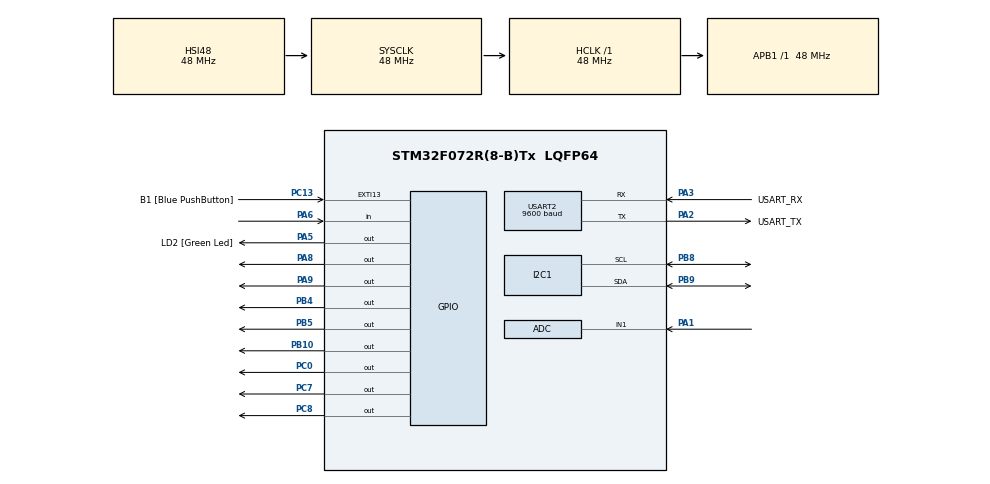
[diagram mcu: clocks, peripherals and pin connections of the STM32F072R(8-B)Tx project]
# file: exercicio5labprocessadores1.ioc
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Mcu.Family=STM32F0
Mcu.Name=STM32F072R(8-B)Tx
Mcu.Package=LQFP64
PA1.Mode=IN1
PA1.Signal=ADC_IN1
PA13.GPIO_Label=TMS
PA13.Mode=Serial_Wire
PA13.Signal=SYS_SWDIO
PA14.GPIO_Label=TCK
PA14.Mode=Serial_Wire
PA14.Signal=SYS_SWCLK
PA2.GPIO_Label=USART_TX
PA2.GPIO_Mode=GPIO_MODE_AF_PP
PA2.GPIO_PuPd=GPIO_NOPULL
PA2.GPIO_Speed=GPIO_SPEED_FREQ_LOW
PA2.Mode=Asynchronous
PA2.Signal=USART2_TX
PA3.GPIO_Label=USART_RX
PA3.GPIO_Mode=GPIO_MODE_AF_PP
PA3.GPIO_PuPd=GPIO_NOPULL
PA3.GPIO_Speed=GPIO_SPEED_FREQ_LOW
PA3.Mode=Asynchronous
PA3.Signal=USART2_RX
PA5.GPIO_Label=LD2 [Green Led]
PA5.GPIO_Mode=GPIO_MODE_OUTPUT_PP
PA5.GPIO_PuPd=GPIO_NOPULL
PA5.GPIO_Speed=GPIO_SPEED_FREQ_LOW
PA5.Signal=GPIO_Output
PA6.Signal=GPIO_Input
PA8.Signal=GPIO_Output
PA9.Signal=GPIO_Output
PB10.Signal=GPIO_Output
PB4.Signal=GPIO_Output
PB5.Signal=GPIO_Output
PB8.Mode=I2C
PB8.Signal=I2C1_SCL
PB9.Mode=I2C
PB9.Signal=I2C1_SDA
PC0.Signal=GPIO_Output
PC13.GPIO_Label=B1 [Blue PushButton]
PC13.GPIO_ModeDefaultEXTI=GPIO_MODE_IT_FALLING
PC13.Signal=GPXTI13
PC14-OSC32_IN.Mode=LSE-External-Oscillator
PC14-OSC32_IN.Signal=RCC_OSC32_IN
PC15-OSC32_OUT.Mode=LSE-External-Oscillator
PC15-OSC32_OUT.Signal=RCC_OSC32_OUT
PC7.Signal=GPIO_Output
PC8.Signal=GPIO_Output
PF0-OSC_IN.Signal=RCC_OSC_IN
PF1-OSC_OUT.Signal=RCC_OSC_OUT
ProjectManager.HeapSize=0x200
ProjectManager.StackSize=0x400
ProjectManager.TargetToolchain=STM32CubeIDE
RCC.AHBFreq_Value=48000000
RCC.APB1Freq_Value=48000000
RCC.APB1TimFreq_Value=48000000
RCC.FLatency-AdvancedSettings=FLASH_LATENCY_1
RCC.HCLKFreq_Value=48000000
RCC.PLLDivider=RCC_PREDIV_DIV2
RCC.PLLMUL=RCC_PLL_MUL12
RCC.PREFETCH_ENABLE-AdvancedSettings=1
RCC.SYSCLKFreq_VALUE=48000000
RCC.SYSCLKSource=RCC_SYSCLKSOURCE_HSI48
USART2.BaudRate=9600
USART2.VirtualMode=VM_ASYNC
USART2.VirtualMode-Asynchronous=VM_ASYNC
VP_RTC_VS_RTC_Activate.Mode=RTC_Enabled
VP_RTC_VS_RTC_Calendar.Mode=RTC_Calendar
board=NUCLEO-F072RB

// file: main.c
/* USER CODE BEGIN Header */
/**
  ******************************************************************************
  * @file           : main.c
  * @brief          : Main program body
  ******************************************************************************
  * @attention
  *
  * Copyright (c) 2022 STMicroelectronics.
  * All rights reserved.
  *
  * This software is licensed under terms that can be found in the LICENSE file
  * in the root directory of this software component.
  * If no LICENSE file comes with this software, it is provided AS-IS.
  *
  ******************************************************************************
  */
/* USER CODE END Header */
#include "main.h"

/* USER CODE BEGIN Includes */
#include "stdio.h"
#include "stdlib.h"
#include "string.h"
/* USER CODE END Includes */

/* USER CODE BEGIN PD */
#define cursor_off     0x0c
#define cursor_on      0x0e
#define cursor_blink   0x0f

#define comCartao (GPIOA-> IDR & (1<<6))

#define rs_0			GPIOA -> BRR = 1<<9
#define rs_1			GPIOA -> BSRR = 1<<9
#define en_0			GPIOC -> BRR = 1<<7
#define en_1			GPIOC -> BSRR = 1<<7

#define servo_0			GPIOC -> BRR = 1<<0
#define servo_1			GPIOC -> BSRR = 1<<0

#define  SCL      8    // Declare SCL GPIO-OUTPUT no Cube!!!
#define  SDA      9    // Declare SDA GPIO-OUTPUT no Cube!!!

#define  SCL_1    GPIOB->BSRR = 1 << SCL
#define  SCL_0    GPIOB->BRR = 1 << SCL
#define  SDA_1    GPIOB->BSRR = 1 << SDA
#define  SDA_0    GPIOB->BRR = 1 << SDA

#define no_lcd		1
#define na_serial	2

char aonde = no_lcd;

#define pb5_0 GPIOB->BRR = 1<<5 			/*PB5(D4) on/off */
#define pb5_1 GPIOB->BSRR = 1<<5
#define pb4_0 GPIOB->BRR = 1<<4 			/*PB4(D5) on/off */
#define pb4_1 GPIOB->BSRR = 1<<4
#define pb10_0 GPIOB->BRR = 1<<10 			/*PB10(D6) on/off */
#define pb10_1 GPIOB->BSRR = 1<<10
#define pa8_0 GPIOA->BRR = 1<<8 			/*PA8(D7)*/
#define pa8_1 GPIOA->BSRR = 1<<8

RTC_TimeTypeDef relogio;
RTC_DateTypeDef calendario;

char ch, d, u, h, m, s, dd, mm, yy;
char hora, min, seg, dia, mes, ano;

/* USER CODE END PD */

ADC_HandleTypeDef hadc;
I2C_HandleTypeDef hi2c1;
RTC_HandleTypeDef hrtc;
UART_HandleTypeDef huart2;

/* USER CODE BEGIN PV */
const unsigned char tab_char[64] =
{
 0x0e, 0x1b, 0x04, 0x04, 0x07, 0x10, 0x0e, 0x00,
 0x0e, 0x04, 0x0e, 0x15, 0x17, 0x11, 0x0e, 0x00,
};
/* USER CODE END PV */

void SystemClock_Config(void);
static void MX_GPIO_Init(void);
static void MX_USART2_UART_Init(void);
static void MX_ADC_Init(void);
static void MX_I2C1_Init(void);
static void MX_RTC_Init(void);
/* USER CODE BEGIN PFP */

void lcd_wrcom4(uint8_t com4);
void lcd_wrcom(uint8_t com);
void lcd_wrchar(unsigned char ch);
void lcd_wr2dig(uint8_t val);
void lcd_init(uint8_t cursor);
void lcd_goto(uint8_t x, uint8_t y);
void lcd_wrstr(char *str);
void udelay(void);
void delayus(uint16_t tempo);
int __io_putchar(int ch);
int _io_putchar(int ch);
void lcd_clear();
void lcd_backlight(uint8_t backlight);
void lcd_progchar(void);

void i2c_init(void);
void i2c_start(void);
void i2c_stop(void);
unsigned char i2c_write(unsigned char dado);
unsigned char i2c_read(unsigned char conf);

void servo_motor(int servo);
void lcd_update();

/* USER CODE END PFP */

/* USER CODE BEGIN 0 */
int __io_putchar(int ch) {
	    if (aonde == no_lcd){if (ch != '\n') lcd_wrchar(ch);}
		if (aonde == na_serial) HAL_UART_Transmit(&huart2, (uint8_t *)&ch, 1, 10);
		return ch;
}
/* USER CODE END 0 */

int main(void)
{

  /* MCU Configuration--------------------------------------------------------*/

  /* Reset of all peripherals, Initializes the Flash interface and the Systick. */
  HAL_Init();

  /* Configure the system clock */
  SystemClock_Config();

  /* Initialize all configured peripherals */
  MX_GPIO_Init();
  MX_USART2_UART_Init();
  MX_ADC_Init();
  MX_I2C1_Init();
  MX_RTC_Init();
  /* USER CODE BEGIN 2 */

  //int leitura;
  //HAL_ADC_Init(&hadc);  // conversor analogico digital

   HAL_UART_Init(&huart2); // Uart(Universal Asynchronous Receiver/Transmitter) porta serial
   HAL_I2C_Init(&hi2c1);
   HAL_RTC_Init(&hrtc);
   HAL_RTC_WaitForSynchro(&hrtc);

   lcd_init(cursor_off);
   lcd_clear();

   char password[4]={0,0,0,0};
   char testePass[4]={0,0,0,0};
   int certa;
   int senhacadastrada=0;
   int senhacorreta,config,estado;
   int erro;

   	   	 do{

	     if (comCartao == 0)
	       {
	        aonde = no_lcd;
	    	lcd_goto(0,0);
	    	printf("Cadastrar senha :");
	    	aonde = na_serial;
	    	printf("\rCadastre uma senha para o cartao\n");
	    	config=1;
	     for(int k = 0; k < 4 ; k++)
		 {
		 do
		 {
		   erro = HAL_UART_Receive(&huart2,(uint8_t *)&password[k], 1, 2);
		 } while (erro != HAL_UART_ERROR_NONE);
		 	 HAL_UART_Transmit(&huart2, (uint8_t *)&password[k], 1, 2);
		 	 password[k] = password[k] - '0';  		//conv ascii decimal
		 }
	     if (comCartao == 0)
	    	       {    for(int k = 0 ; k < 4 ; k++)
	     {
	    	 int pos_mem=100+k;
	    	 HAL_I2C_Mem_Write(&hi2c1,0xA0,pos_mem,1,(uint8_t*)&password[k],1,10);
	    	 HAL_Delay(10);

	     }

	      for (int k=0; k<4; k++)
	      {
	    	int pos_mem=100+k;
	      	HAL_I2C_Mem_Read(&hi2c1, 0xA0, pos_mem, 1, (uint8_t*)&testePass[k], 1, 10);
	      	}
	         aonde = na_serial;
	         printf("\n\rSenha cadastrada %d%d%d%d\n",testePass[0],testePass[1],testePass[2],testePass[3]);
	     	 aonde = no_lcd;
	     	 lcd_clear();
	     	 lcd_goto(0,0);
	     	 printf("\nSenha cadastrada\n");
	     	 senhacadastrada=1;
	     	 config=3;
	     	 HAL_Delay(500);
	    } else {
	    	       aonde = no_lcd;
	    	       lcd_clear();
	    		   printf("Insira o cartao de acesso\n");
	    		   HAL_Delay(100);
	    	   	   aonde = na_serial;
	    	   	   printf("\r\n");
	    	   	   printf("\rInsira o cartao de acesso\n");
	    	   	   HAL_Delay(500);
	    	   }
	       }else {
    	       aonde = no_lcd;
    	       lcd_clear();
    		   printf("Insira o cartao de acesso\n");
    		   HAL_Delay(100);
    	   	   aonde = na_serial;
    	   	   printf("\r\n");
    	   	   printf("\rInsira o cartao de acesso\n");
    	   	   printf("\r\n");
    	   	   HAL_Delay(500);
    	   }

	     }while(senhacadastrada==0);

   		aonde = na_serial;
   		printf("\rAjuste da data\n");
   		printf("\rDia/mes/ano\n");
   		//AJUSTE DA DATA
   		do{
   			erro = HAL_UART_Receive(&huart2, (uint8_t*)&ch, 1, 2);
   		} while(erro != HAL_UART_ERROR_NONE);
   		HAL_UART_Transmit(&huart2, (uint8_t*)&ch, 1, 2);

   		d = ch-'0'; //converte ascii p decimal

   		do{
   			erro = HAL_UART_Receive(&huart2, (uint8_t*)&ch, 1, 2);
   		} while(erro != HAL_UART_ERROR_NONE);
   		HAL_UART_Transmit(&huart2, (uint8_t*)&ch, 1, 2);

   		u = ch - '0';
   		dd = 10 * d + u;
   		if (dd>31) dd=31;
   		ch = '/';
   		HAL_UART_Transmit(&huart2, (uint8_t*)&ch, 1, 2);
   		aonde = no_lcd;
   		lcd_clear();
   		lcd_goto(8,0);
   		printf("\r%02d/\n", dd); // imprime a data

   			//AJUSTE DO MES
   		do{
   			erro = HAL_UART_Receive(&huart2, (uint8_t*)&ch, 1, 2);
   		} while(erro != HAL_UART_ERROR_NONE);
   		HAL_UART_Transmit(&huart2, (uint8_t*)&ch, 1, 2);

   		d = ch-'0'; //converte ascii p decimal

   		do{
   			erro = HAL_UART_Receive(&huart2, (uint8_t*)&ch, 1, 2);
   		} while(erro != HAL_UART_ERROR_NONE);
   		HAL_UART_Transmit(&huart2, (uint8_t*)&ch, 1, 2);

   		u = ch - '0';
   		mm = 10 * d + u;
   		if (dd>28 && mm==2) mm+=1;
   		if (dd>30 && (mm==4 || mm==6 || mm==9 || mm==11)) mm+=1;
   		if (mm>12) mm=12;
   		ch = '/';
   		HAL_UART_Transmit(&huart2, (uint8_t*)&ch, 1, 2);
   		lcd_goto(11,0);
   		printf("\r%02d/\n", mm); // imprime mes

   			//AJUSTE DO SEGUNDO
   		do{
   			erro = HAL_UART_Receive(&huart2, (uint8_t*)&ch, 1, 2);
   		} while(erro != HAL_UART_ERROR_NONE);
   		HAL_UART_Transmit(&huart2, (uint8_t*)&ch, 1, 2);

   		d = ch-'0'; //converte ascii p decimal

   		do{
   			erro = HAL_UART_Receive(&huart2, (uint8_t*)&ch, 1, 2);
   		} while(erro != HAL_UART_ERROR_NONE);
   		HAL_UART_Transmit(&huart2, (uint8_t*)&ch, 1, 2);

   		u = ch - '0';
   		yy = 10 * d + u;

   		lcd_goto(14,0);
   		printf("\r%02d\n", yy); // imprime ano

   		aonde = na_serial;
   		printf("\n");

   		aonde = na_serial;
   		printf("\rDigite a hora\n");

   		//AJUSTE DA HORA
   		do{

   			erro = HAL_UART_Receive(&huart2, (uint8_t*)&ch, 1, 2);
   		} while(erro != HAL_UART_ERROR_NONE);
   		HAL_UART_Transmit(&huart2, (uint8_t*)&ch, 1, 2);

   		d = ch-'0'; //converte ascii p decimal

   		do{
   			erro = HAL_UART_Receive(&huart2, (uint8_t*)&ch, 1, 2);
   		} while(erro != HAL_UART_ERROR_NONE);
   		HAL_UART_Transmit(&huart2, (uint8_t*)&ch, 1, 2);

   		u = ch - '0';
   		h = 10 * d + u;
   		if (h>23) h=23;
   		ch = ':';
   		HAL_UART_Transmit(&huart2, (uint8_t*)&ch, 1, 2);
   		aonde = no_lcd;
   		lcd_goto(8,1);
   		printf("\r%02d:\n", h); // imprime a hora

   			//AJUSTE DO MINUTO
   		do{
   			erro = HAL_UART_Receive(&huart2, (uint8_t*)&ch, 1, 2);
   		} while(erro != HAL_UART_ERROR_NONE);
   		HAL_UART_Transmit(&huart2, (uint8_t*)&ch, 1, 2);

   		d = ch-'0'; //converte ascii p decimal

   		do{
   			erro = HAL_UART_Receive(&huart2, (uint8_t*)&ch, 1, 2);
   		} while(erro != HAL_UART_ERROR_NONE);
   		HAL_UART_Transmit(&huart2, (uint8_t*)&ch, 1, 2);

   		u = ch - '0';
   		m = 10 * d + u;
   		if(m>59) m=59;
   		ch = ':';
   		HAL_UART_Transmit(&huart2, (uint8_t*)&ch, 1, 2);
   		lcd_goto(11,1);
   		printf("\r%02d:\n", m); // imprime minuto

   			//AJUSTE DO SEGUNDO
   		do{
   			erro = HAL_UART_Receive(&huart2, (uint8_t*)&ch, 1, 2);
   		} while(erro != HAL_UART_ERROR_NONE);
   		HAL_UART_Transmit(&huart2, (uint8_t*)&ch, 1, 2);

   		d = ch-'0'; //converte ascii p decimal

   		do{
   			erro = HAL_UART_Receive(&huart2, (uint8_t*)&ch, 1, 2);
   		} while(erro != HAL_UART_ERROR_NONE);
   		HAL_UART_Transmit(&huart2, (uint8_t*)&ch, 1, 2);

   		u = ch - '0';
   		s = 10 * d + u;
   		if(s>59) s=59;

   		lcd_goto(14,1);
   		printf("\r%02d\n", s); // imprime segundo

   		relogio.Hours = h;
   		relogio.Minutes = m;
   		relogio.Seconds = s;

   		calendario.Date = dd;
   		calendario.Month = mm;
   		calendario.Year = yy;

   		HAL_RTC_SetTime(&hrtc, &relogio, RTC_FORMAT_BIN);
   		HAL_RTC_SetDate(&hrtc, &calendario, RTC_FORMAT_BIN);

   		estado=0;
   		aonde = na_serial;
   		printf("\n");

  /* USER CODE END 2 */

  /* Infinite loop */
  while (1)
  {

    /* USER CODE BEGIN 3 */
	  lcd_update();
	  do
	  {
		  lcd_update();
      if (comCartao == 0)//cartao continua inserido
    {

   	aonde = na_serial;
   	printf("\r\n");
    printf("\rInsira a senha para abrir a porta : \n");
    config=1;
    lcd_update();
    	for(int k = 0; k < 4 ; k++)
    	{ lcd_update();
    		do
    		{
    		 	erro = HAL_UART_Receive(&huart2, (uint8_t *)&testePass[k], 1, 100);
    		 	lcd_update();
    		} while (erro != HAL_UART_ERROR_NONE);
    	 	 HAL_UART_Transmit(&huart2, (uint8_t *)&testePass[k], 1, 100);
    	 	 testePass[k] = testePass[k] - '0';  		//conv ascii decimal
    	}
    	 if (comCartao == 0)//cartao continua inserido
    	    {
    		 lcd_update();

        	/* for(int k = 0 ; k <4 ; k++)
      	 {
      		int pos_mem=100+k;
      		HAL_I2C_Mem_Read(&hi2c1, 0xA0, pos_mem, 1, (uint8_t*)&testePass[k], 1, 10);
      	  }*/
    	certa=0;
      	for (int k=0; k<4; k++) //compara a senha
      		{lcd_update();
      			if (password[k]==testePass[k]) certa=certa+1;
      		}

      	            if(certa!=4)
      	            {
      	 	 	 	aonde = na_serial;
    				printf("\rSenha incorreta\n");
    				aonde = no_lcd;
    			    lcd_goto (0,0);
    				printf("Senha\n");
    				lcd_goto (0,1);
    				printf("Inc.\n");
    				HAL_Delay(10);
    				lcd_update();
      	            }else{

      	            	aonde = na_serial;
      	            	printf("\rSenha correta\n");
      	            	aonde = no_lcd;
      	                lcd_goto (0,0);
      	                printf("Senha\n");
      	                lcd_goto (0,1);
      	                printf("Cor.\n");
      	            	HAL_Delay(1000);
      	            	servo_motor(1);
      	            	HAL_Delay(5000);
      	            	servo_motor(2);
      	            	lcd_update();
      	            }
    }
      	  	  	else
      	  	  	{
      	  	  	lcd_update();
      	  	  	if(config==1)
      	  	  	{
      	  	  		aonde = na_serial;
      	  	  		printf("\rInsira o cartao de acesso\n");
      	  	  		printf("\r\n");
      	  	  		aonde = no_lcd;
      	  	  		printf("Insira o cartao de acesso\n");
      	  	  		config=2;
    	     	 }
      	  	  	}
    	 lcd_update(); }else { estado=1;}

      lcd_update();	  }while(config<3);
}if(estado=1){
			aonde = na_serial;
	  		printf("\rInsira o cartao de acesso\n");
	  		printf("\r\n");
	  		aonde = no_lcd;
	  		printf("Insira o cartao de acesso\n");
	  		config=2;
	  		if(comCartao==1)estado=0;
}

	lcd_update();
}
  /* USER CODE END 3 */

void SystemClock_Config(void)
{
  RCC_OscInitTypeDef RCC_OscInitStruct = {0};
  RCC_ClkInitTypeDef RCC_ClkInitStruct = {0};
  RCC_PeriphCLKInitTypeDef PeriphClkInit = {0};

  /** Initializes the RCC Oscillators according to the specified parameters
  * in the RCC_OscInitTypeDef structure.
  */
  RCC_OscInitStruct.OscillatorType = RCC_OSCILLATORTYPE_HSI|RCC_OSCILLATORTYPE_HSI14
                              |RCC_OSCILLATORTYPE_HSI48|RCC_OSCILLATORTYPE_LSI;
  RCC_OscInitStruct.HSIState = RCC_HSI_ON;
  RCC_OscInitStruct.HSI48State = RCC_HSI48_ON;
  RCC_OscInitStruct.HSI14State = RCC_HSI14_ON;
  RCC_OscInitStruct.HSICalibrationValue = RCC_HSICALIBRATION_DEFAULT;
  RCC_OscInitStruct.HSI14CalibrationValue = 16;
  RCC_OscInitStruct.LSIState = RCC_LSI_ON;
  RCC_OscInitStruct.PLL.PLLState = RCC_PLL_NONE;
  if (HAL_RCC_OscConfig(&RCC_OscInitStruct) != HAL_OK)
  {
    Error_Handler();
  }
  /** Initializes the CPU, AHB and APB buses clocks
  */
  RCC_ClkInitStruct.ClockType = RCC_CLOCKTYPE_HCLK|RCC_CLOCKTYPE_SYSCLK
                              |RCC_CLOCKTYPE_PCLK1;
  RCC_ClkInitStruct.SYSCLKSource = RCC_SYSCLKSOURCE_HSI48;
  RCC_ClkInitStruct.AHBCLKDivider = RCC_SYSCLK_DIV1;
  RCC_ClkInitStruct.APB1CLKDivider = RCC_HCLK_DIV1;

  if (HAL_RCC_ClockConfig(&RCC_ClkInitStruct, FLASH_LATENCY_1) != HAL_OK)
  {
    Error_Handler();
  }
  PeriphClkInit.PeriphClockSelection = RCC_PERIPHCLK_USART2|RCC_PERIPHCLK_I2C1
                              |RCC_PERIPHCLK_RTC;
  PeriphClkInit.Usart2ClockSelection = RCC_USART2CLKSOURCE_PCLK1;
  PeriphClkInit.I2c1ClockSelection = RCC_I2C1CLKSOURCE_HSI;
  PeriphClkInit.RTCClockSelection = RCC_RTCCLKSOURCE_LSI;
  if (HAL_RCCEx_PeriphCLKConfig(&PeriphClkInit) != HAL_OK)
  {
    Error_Handler();
  }
}

static void MX_ADC_Init(void)
{

  ADC_ChannelConfTypeDef sConfig = {0};

  /** Configure the global features of the ADC (Clock, Resolution, Data Alignment and number of conversion)
  */
  hadc.Instance = ADC1;
  hadc.Init.ClockPrescaler = ADC_CLOCK_ASYNC_DIV1;
  hadc.Init.Resolution = ADC_RESOLUTION_12B;
  hadc.Init.DataAlign = ADC_DATAALIGN_RIGHT;
  hadc.Init.ScanConvMode = ADC_SCAN_DIRECTION_FORWARD;
  hadc.Init.EOCSelection = ADC_EOC_SINGLE_CONV;
  hadc.Init.LowPowerAutoWait = DISABLE;
  hadc.Init.LowPowerAutoPowerOff = DISABLE;
  hadc.Init.ContinuousConvMode = DISABLE;
  hadc.Init.DiscontinuousConvMode = DISABLE;
  hadc.Init.ExternalTrigConv = ADC_SOFTWARE_START;
  hadc.Init.ExternalTrigConvEdge = ADC_EXTERNALTRIGCONVEDGE_NONE;
  hadc.Init.DMAContinuousRequests = DISABLE;
  hadc.Init.Overrun = ADC_OVR_DATA_PRESERVED;
  if (HAL_ADC_Init(&hadc) != HAL_OK)
  {
    Error_Handler();
  }
  /** Configure for the selected ADC regular channel to be converted.
  */
  sConfig.Channel = ADC_CHANNEL_1;
  sConfig.Rank = ADC_RANK_CHANNEL_NUMBER;
  sConfig.SamplingTime = ADC_SAMPLETIME_1CYCLE_5;
  if (HAL_ADC_ConfigChannel(&hadc, &sConfig) != HAL_OK)
  {
    Error_Handler();
  }

}

static void MX_I2C1_Init(void)
{

  hi2c1.Instance = I2C1;
  hi2c1.Init.Timing = 0x2000090E;
  hi2c1.Init.OwnAddress1 = 0;
  hi2c1.Init.AddressingMode = I2C_ADDRESSINGMODE_7BIT;
  hi2c1.Init.DualAddressMode = I2C_DUALADDRESS_DISABLE;
  hi2c1.Init.OwnAddress2 = 0;
  hi2c1.Init.OwnAddress2Masks = I2C_OA2_NOMASK;
  hi2c1.Init.GeneralCallMode = I2C_GENERALCALL_DISABLE;
  hi2c1.Init.NoStretchMode = I2C_NOSTRETCH_DISABLE;
  if (HAL_I2C_Init(&hi2c1) != HAL_OK)
  {
    Error_Handler();
  }
  /** Configure Analogue filter
  */
  if (HAL_I2CEx_ConfigAnalogFilter(&hi2c1, I2C_ANALOGFILTER_ENABLE) != HAL_OK)
  {
    Error_Handler();
  }
  /** Configure Digital filter
  */
  if (HAL_I2CEx_ConfigDigitalFilter(&hi2c1, 0) != HAL_OK)
  {
    Error_Handler();
  }

}

static void MX_RTC_Init(void)
{

  RTC_TimeTypeDef sTime = {0};
  RTC_DateTypeDef sDate = {0};

  /** Initialize RTC Only
  */
  hrtc.Instance = RTC;
  hrtc.Init.HourFormat = RTC_HOURFORMAT_24;
  hrtc.Init.AsynchPrediv = 127;
  hrtc.Init.SynchPrediv = 255;
  hrtc.Init.OutPut = RTC_OUTPUT_DISABLE;
  hrtc.Init.OutPutPolarity = RTC_OUTPUT_POLARITY_HIGH;
  hrtc.Init.OutPutType = RTC_OUTPUT_TYPE_OPENDRAIN;
  if (HAL_RTC_Init(&hrtc) != HAL_OK)
  {
    Error_Handler();
  }

  /** Initialize RTC and set the Time and Date
  */
  sTime.Hours = 0x0;
  sTime.Minutes = 0x0;
  sTime.Seconds = 0x0;
  sTime.DayLightSaving = RTC_DAYLIGHTSAVING_NONE;
  sTime.StoreOperation = RTC_STOREOPERATION_RESET;
  if (HAL_RTC_SetTime(&hrtc, &sTime, RTC_FORMAT_BCD) != HAL_OK)
  {
    Error_Handler();
  }
  sDate.WeekDay = RTC_WEEKDAY_MONDAY;
  sDate.Month = RTC_MONTH_JANUARY;
  sDate.Date = 0x1;
  sDate.Year = 0x0;

  if (HAL_RTC_SetDate(&hrtc, &sDate, RTC_FORMAT_BCD) != HAL_OK)
  {
    Error_Handler();
  }

}

static void MX_USART2_UART_Init(void)
{

  huart2.Instance = USART2;
  huart2.Init.BaudRate = 9600;
  huart2.Init.WordLength = UART_WORDLENGTH_8B;
  huart2.Init.StopBits = UART_STOPBITS_1;
  huart2.Init.Parity = UART_PARITY_NONE;
  huart2.Init.Mode = UART_MODE_TX_RX;
  huart2.Init.HwFlowCtl = UART_HWCONTROL_NONE;
  huart2.Init.OverSampling = UART_OVERSAMPLING_16;
  huart2.Init.OneBitSampling = UART_ONE_BIT_SAMPLE_DISABLE;
  huart2.AdvancedInit.AdvFeatureInit = UART_ADVFEATURE_NO_INIT;
  if (HAL_UART_Init(&huart2) != HAL_OK)
  {
    Error_Handler();
  }

}

static void MX_GPIO_Init(void)
{
  GPIO_InitTypeDef GPIO_InitStruct = {0};

  /* GPIO Ports Clock Enable */
  __HAL_RCC_GPIOC_CLK_ENABLE();
  __HAL_RCC_GPIOF_CLK_ENABLE();
  __HAL_RCC_GPIOA_CLK_ENABLE();
  __HAL_RCC_GPIOB_CLK_ENABLE();

  /*Configure GPIO pin Output Level */
  HAL_GPIO_WritePin(GPIOC, GPIO_PIN_0|GPIO_PIN_7|GPIO_PIN_8, GPIO_PIN_RESET);

  /*Configure GPIO pin Output Level */
  HAL_GPIO_WritePin(GPIOA, LD2_Pin|GPIO_PIN_8|GPIO_PIN_9, GPIO_PIN_RESET);

  /*Configure GPIO pin Output Level */
  HAL_GPIO_WritePin(GPIOB, GPIO_PIN_10|GPIO_PIN_4|GPIO_PIN_5, GPIO_PIN_RESET);

  /*Configure GPIO pin : B1_Pin */
  GPIO_InitStruct.Pin = B1_Pin;
  GPIO_InitStruct.Mode = GPIO_MODE_IT_FALLING;
  GPIO_InitStruct.Pull = GPIO_NOPULL;
  HAL_GPIO_Init(B1_GPIO_Port, &GPIO_InitStruct);

  /*Configure GPIO pins : PC0 PC7 PC8 */
  GPIO_InitStruct.Pin = GPIO_PIN_0|GPIO_PIN_7|GPIO_PIN_8;
  GPIO_InitStruct.Mode = GPIO_MODE_OUTPUT_PP;
  GPIO_InitStruct.Pull = GPIO_NOPULL;
  GPIO_InitStruct.Speed = GPIO_SPEED_FREQ_LOW;
  HAL_GPIO_Init(GPIOC, &GPIO_InitStruct);

  /*Configure GPIO pins : LD2_Pin PA8 PA9 */
  GPIO_InitStruct.Pin = LD2_Pin|GPIO_PIN_8|GPIO_PIN_9;
  GPIO_InitStruct.Mode = GPIO_MODE_OUTPUT_PP;
  GPIO_InitStruct.Pull = GPIO_NOPULL;
  GPIO_InitStruct.Speed = GPIO_SPEED_FREQ_LOW;
  HAL_GPIO_Init(GPIOA, &GPIO_InitStruct);

  /*Configure GPIO pin : PA6 */
  GPIO_InitStruct.Pin = GPIO_PIN_6;
  GPIO_InitStruct.Mode = GPIO_MODE_INPUT;
  GPIO_InitStruct.Pull = GPIO_NOPULL;
  HAL_GPIO_Init(GPIOA, &GPIO_InitStruct);

  /*Configure GPIO pins : PB10 PB4 PB5 */
  GPIO_InitStruct.Pin = GPIO_PIN_10|GPIO_PIN_4|GPIO_PIN_5;
  GPIO_InitStruct.Mode = GPIO_MODE_OUTPUT_PP;
  GPIO_InitStruct.Pull = GPIO_NOPULL;
  GPIO_InitStruct.Speed = GPIO_SPEED_FREQ_LOW;
  HAL_GPIO_Init(GPIOB, &GPIO_InitStruct);

}

/* USER CODE BEGIN 4 */
void lcd_send4bit(unsigned char x)
{
	if ((x & (1 << 0)) == 0) pb5_0; else pb5_1;
	if ((x & (1 << 1)) == 0) pb4_0; else pb4_1;
	if ((x & (1 << 2)) == 0) pb10_0; else pb10_1;
	if ((x & (1 << 3)) == 0) pa8_0; else pa8_1;

}
void lcd_wrcom(uint8_t com)
{
	// Envia 4 bits + significativos
	lcd_send4bit(com>>4);

    rs_0;
	en_1;
	delayus(5);
	en_0;

	// Envia 4 bits - significativos
	lcd_send4bit(com & 0x0f);
	rs_0;
	en_1;
	delayus(5);
	en_0;

	HAL_Delay(5);

}
void lcd_wrcom4(uint8_t com4)
{
	lcd_send4bit(com4);
	rs_0;
	en_1;
	delayus(5);
	en_0;
	HAL_Delay(5);

}
void lcd_wrstr(char *str)
{
	while(*str) lcd_wrchar(*(str++));
}
void lcd_progchar(void)
{
 unsigned char i;
 lcd_wrcom(0x40);
 for (i = 0; i < 16; i++)
 lcd_wrchar(tab_char[i]);
 lcd_wrcom(0x80);
}
void lcd_wrchar(unsigned char ch)   //
{
	// Envia 4 bits + significativos (bit Ã  bit)
    lcd_send4bit(ch>>4);

	rs_1;
	en_1;
	delayus(5);
	en_0;
	// Envia 4 bits - significativos (bit Ã  bit)
	lcd_send4bit(ch & 0x0f);
    rs_1;
	en_1;
	delayus(5);
	en_0;

	HAL_Delay(5);

}
void lcd_init(uint8_t cursor)  //
{
	lcd_wrcom4(3);
	lcd_wrcom4(3);
	lcd_wrcom4(3);
	lcd_wrcom4(2);
	lcd_wrcom(0x28);
	lcd_wrcom(cursor);
	lcd_wrcom(0x06);
	lcd_wrcom(0x01);
}
void lcd_goto(uint8_t x, uint8_t y)
{
	uint8_t  comando = 0x80;
	if(y==0) comando= 0x80;
	if(y==1) comando= 0xc0;
	if(y==2) comando= 0x90;
	if(y==3) comando= 0xd0;
	if(x<20) comando+=x;
	lcd_wrcom(comando);
}
int _io_putchar(int ch)
{
	 if (ch != '\n') lcd_wrchar(ch);
	return ch;
}
void udelay(void)
{
	int tempo=7;
	while(tempo--);
}
void delayus(uint16_t tempo)
{
	while(tempo--) udelay();
}
void lcd_wr2dig(uint8_t val)
{
	lcd_wrchar((val/10)+48);
	lcd_wrchar((val%10)+48);
}
void lcd_clear()
{
	lcd_wrcom(0x01);
}
void lcd_backlight(uint8_t backlight)
{
	if(backlight == 1) GPIOB -> BSRR = 1<<6;
}

/*
 *implementaÃ§Ã£o I2C
 */
void i2c_init(void)
{
  SDA_1;
  SCL_1;
  delayus(5);
}

void i2c_start(void)
{
  SDA_0;
  delayus(5);
  SCL_0;
  delayus(1);
}

void i2c_stop(void)
{
  SDA_0;
  delayus(1);
  SCL_1;
  delayus(5);
  SDA_1;
  delayus(5);
}

unsigned char i2c_write(unsigned char dado)
{
  int i;
  unsigned char resp;

  for(i=7; i>=0; i--)
  {
    if((dado & (1<<i)) != 0) SDA_1;  else SDA_0;
    delayus(1);
    SCL_1;
    delayus(5);
    SCL_0;
    delayus(5);
  }

  SDA_1;
  delayus(1);
  SCL_1;
  if((GPIOB->IDR & (1<<SDA)) != 0) resp=0xff; else resp=0;
  delayus(5);
  SCL_0;
  delayus(5);
  SDA_0;
  delayus(1);

  return resp;
}

unsigned char i2c_read(unsigned char conf)
{
  int i;
  unsigned char v=0;

  SDA_1;
  delayus(1);
  for(i=7; i>=0; i--)
  {
    v <<= 1;
    SCL_1;
    if((GPIOB->IDR & (1<<SDA)) !=0)  v++;
    delayus(5);
    SCL_0;
    delayus(5);
  }
  if(conf) SDA_1; else SDA_0;
  SCL_1;
  delayus(5);
  SCL_0;
  delayus(5);

  return v;
}

// Escreve no Smart Card...
void i2c_smartcard_wr(unsigned char slave, unsigned char data)
{
  i2c_start();
  i2c_write(slave);
  i2c_write(data);
  i2c_stop();
  delayus(10000);
}

// Escreve um unico byte....
// Memoria do tipo 8x8...
//
void i2c_wrmem(unsigned char slave, unsigned char address, unsigned char data)
{
  i2c_start();
  i2c_write((slave&0xfe));
  i2c_write(address);
  i2c_write(data);
  i2c_stop();
  delayus(10000);
}

// Le um unico byte...
// Memoria do tipo 8x8...
//
unsigned char i2c_rdmem(unsigned char slave, unsigned char address)
{
  unsigned char resp;
  i2c_start();
  i2c_write((slave&0xfe));
  i2c_write(address); // endereco de gravacao
  i2c_stop();
  i2c_start(); // re-start
  i2c_write((slave&0xfe) + 1); // slave adress da memoria + operacao R
  resp = i2c_read(0xff); //apos leitura envia um nak
  i2c_stop();

  return resp;
}

void servo_motor(int servo)
{
	if(servo == 0)
	{
		for(int k = 0; k<20; k++)
		{
			servo_1;
			HAL_Delay(1.5);
			servo_0;
			HAL_Delay(18.5);
		}
	}
	if(servo == 1)
	{
		for(int k = 0; k<20; k++)
				{
					servo_1;
					HAL_Delay(1);
					servo_0;
					HAL_Delay(19);
				}
	}
	if(servo == 2)
		{
			for(int k = 0; k<20; k++)
					{
						servo_1;
						HAL_Delay(2);
						servo_0;
						HAL_Delay(18);
					}
		}
}

void lcd_update()
{
	HAL_RTC_GetDate(&hrtc, &calendario, RTC_FORMAT_BIN);
	HAL_RTC_GetTime(&hrtc, &relogio, RTC_FORMAT_BIN);

	hora = relogio.Hours;
	min = relogio.Minutes;
	seg = relogio.Seconds;

	dia = calendario.Date;
	mes = calendario.Month;
	ano = calendario.Year;

	aonde = no_lcd;
	lcd_goto(8 ,0);
	printf("%02d/%02d/%02d\n", dia, mes, ano);
	lcd_goto(8, 1);
	printf("%02d:%02d:%02d\n", hora, min, seg);
}

/* USER CODE END 4 */

void Error_Handler(void)
{
  __disable_irq();
  while (1)
  {
  }
}

/************************ (C) COPYRIGHT STMicroelectronics *****END OF FILE****/
